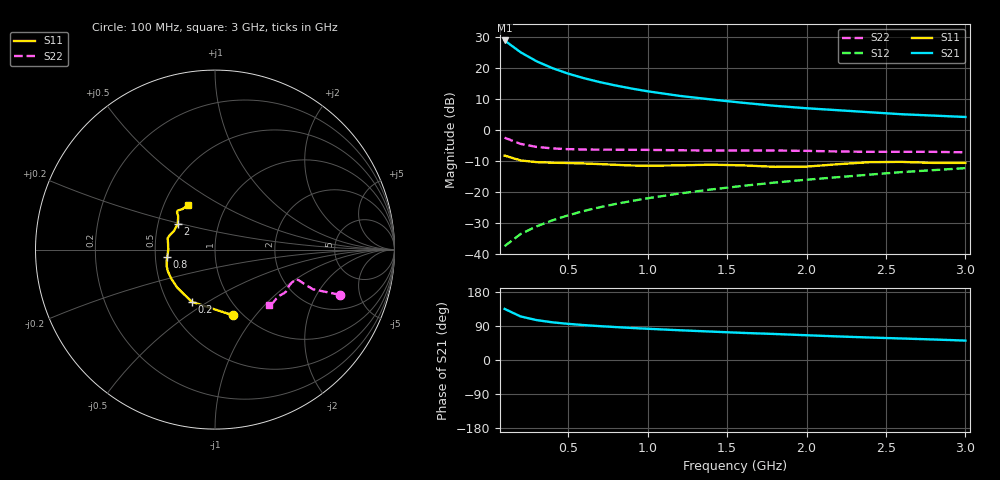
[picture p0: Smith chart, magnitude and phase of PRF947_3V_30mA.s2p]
! Filename:  PRF947H.S2P  Version:  3.0
! Philips part #:  PRF947  Date:  Nov 1998
! Bias condition:  Vce=3V, Ic=30mA
#  MHz  S  MA  R 50
! Freq  S11  S21  S12  S22  :
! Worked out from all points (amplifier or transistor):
!   20 points, 100 MHz to 3 GHz, reference 50 ohm
!   highest |S21| = 28.8 dB at 100 MHz (marker M1)
!   |S21| within 3 dB of that: start of sweep to 179.2 MHz
!   unconditionally stable (mu >= 1): 322.9 MHz to end of sweep
!   at 400 MHz: K = 1.05, MAG = 23.2 dB, |S12| = -29.3 dB
!   at 1.2 GHz: K = 1.16, MAG = 13.3 dB, |S12| = -20.6 dB
!   at 3 GHz: K = 1.10, MAG = 6.4 dB, |S12| = -12.4 dB
!   S11 on the Smith chart (normalised r, x): 100 MHz: 0.91, -0.78; 200 MHz: 0.66, -0.43; 800 MHz: 0.58, -0.05; 2 GHz: 0.63, +0.20; 3 GHz: 0.66, +0.36
100  0.3807 -74.4  27.43 134.8  0.01315 68.9  0.7391 -19.9
200  0.3184 -113.9  17.73 115.0  0.0206 67.9  0.5884 -22.1
300  0.2985 -135.1  12.7 105.4  0.02735 70.5  0.5258 -20.9
400  0.2922 -147.7  9.823 99.5  0.03428 73.1  0.4971 -20.1
500  0.2887 -155.8  7.998 95.3  0.04143 75.1  0.4832 -20.0
600  0.2841 -161.5  6.748 92.1  0.04864 76.6  0.4767 -20.3
700  0.2774 -166.3  5.829 89.3  0.0559 77.6  0.4746 -20.7
800  0.27 -170.9  5.143 86.9  0.06316 78.4  0.4737 -21.2
900  0.2636 -175.7  4.592 84.5  0.07045 79.1  0.4725 -21.6
1000  0.2605 179.4  4.151 82.4  0.07791 79.5  0.4705 -22.1
1200  0.2651 171.1  3.503 78.5  0.09297 79.9  0.4639 -23.8
1400  0.2716 166.2  3.063 75.0  0.108 80.1  0.4592 -26.3
1600  0.2647 162.3  2.707 71.5  0.1237 80.2  0.4597 -28.9
1800  0.2507 155.3  2.419 68.6  0.1397 79.8  0.4597 -30.8
2000  0.2527 145.2  2.211 65.3  0.1553 79.7  0.4537 -32.6
2200  0.2766 137.8  2.052 62.2  0.1709 79.3  0.4434 -35.1
2400  0.2984 135.2  1.904 59.3  0.1879 78.7  0.4375 -38.5
2600  0.3009 133.6  1.768 56.7  0.2061 78.0  0.4383 -41.7
2800  0.2897 129.0  1.681 54.1  0.2218 77.7  0.4375 -43.9
3000  0.2899 120.8  1.597 51.2  0.2388 77.3  0.4295 -46.0
